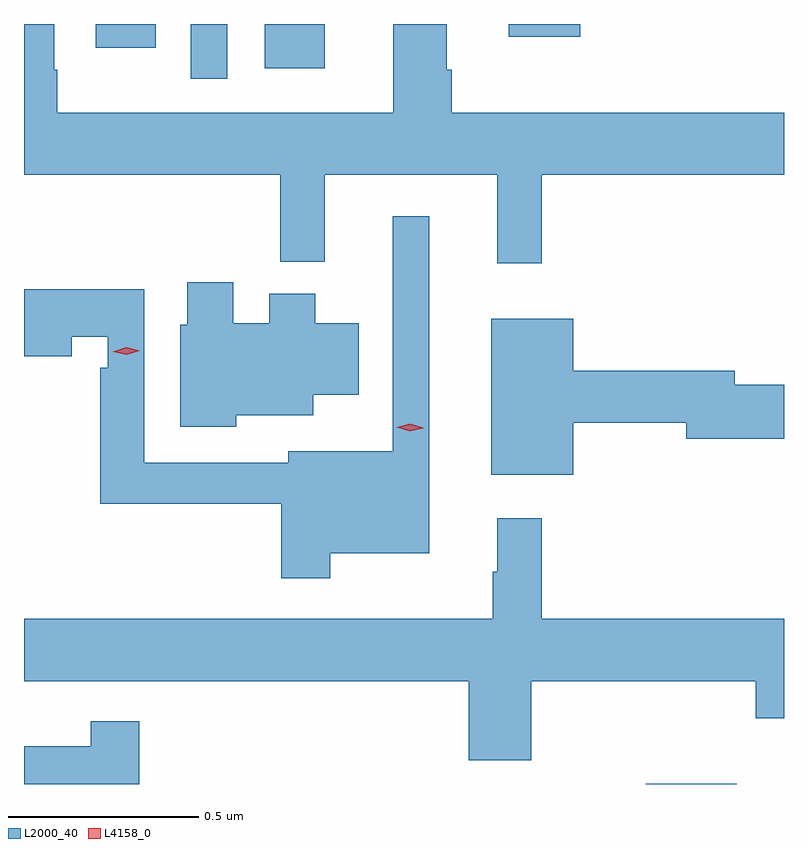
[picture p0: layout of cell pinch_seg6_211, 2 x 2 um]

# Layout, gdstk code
import gdstk
lib = gdstk.Library(unit=1e-6, precision=1e-09)
def R(c, l, rs):  # rectangles x0, y0, x1, y1
    for r in rs: c.add(gdstk.rectangle(r[:2], r[2:], *l))
def P(c, l, *ps):  # polygons
    for p in ps: c.add(gdstk.Polygon(p, *l))
L2000_40 = (2000, 40)
L4158_0 = (4158, 0)

pinch_seg6_211 = lib.new_cell('pinch_seg6_211')
R(pinch_seg6_211, L2000_40, [(1079.655,921.757,1079.894,921.758), (1078.458,923.613,1078.554,923.757), (1078.652,923.64,1078.81,923.757), (1078.208,923.694,1078.366,923.757), (1079.295,923.724,1079.483,923.757)])
P(pinch_seg6_211, L2000_40, [(1079.381,923.36),(1080.019,923.36),(1080.019,923.524),(1079.144,923.524),(1079.144,923.636),(1079.131,923.636),(1079.131,923.757),(1078.991,923.757),(1078.991,923.524),(1078.107,923.524),(1078.107,923.636),(1078.099,923.636),(1078.099,923.757),(1078.019,923.757),(1078.019,923.36),(1078.693,923.36),(1078.693,923.132),(1078.811,923.132),(1078.811,923.36),(1079.264,923.36),(1079.264,923.127),(1079.381,923.127)],
  [(1078.825,922.364),(1079.086,922.364),(1079.086,923.251),(1078.989,923.251),(1078.989,922.633),(1078.715,922.633),(1078.715,922.602),(1078.335,922.602),(1078.335,923.059),(1078.019,923.059),(1078.019,922.883),(1078.144,922.883),(1078.144,922.934),(1078.239,922.934),(1078.239,922.853),(1078.219,922.853),(1078.219,922.494),(1078.696,922.494),(1078.696,922.299),(1078.825,922.299)],
  [(1078.578,922.727),(1078.78,922.727),(1078.78,922.781),(1078.9,922.781),(1078.9,922.969),(1078.786,922.969),(1078.786,923.047),(1078.664,923.047),(1078.664,922.969),(1078.57,922.969),(1078.57,923.077),(1078.448,923.077),(1078.448,922.965),(1078.43,922.965),(1078.43,922.697),(1078.578,922.697)],
  [(1079.464,922.708),(1079.762,922.708),(1079.762,922.666),(1080.019,922.666),(1080.019,922.808),(1079.89,922.808),(1079.89,922.844),(1079.464,922.844),(1079.464,922.981),(1079.249,922.981),(1079.249,922.571),(1079.464,922.571)],
  [(1079.354,922.028),(1079.945,922.028),(1079.945,921.93),(1080.019,921.93),(1080.019,922.192),(1079.381,922.192),(1079.381,922.456),(1079.264,922.456),(1079.264,922.316),(1079.253,922.316),(1079.253,922.192),(1078.019,922.192),(1078.019,922.028),(1079.189,922.028),(1079.189,921.82),(1079.354,921.82)],
  [(1078.322,921.922),(1078.194,921.922),(1078.194,921.856),(1078.019,921.856),(1078.019,921.757),(1078.322,921.757)])
P(pinch_seg6_211, L4158_0, [(1079.034,922.685),(1079,922.696),(1078.999,922.696),(1079,922.696),(1079.035,922.705),(1079.07,922.694),(1079.07,922.693),(1079.07,922.693)],
  [(1078.289,922.886),(1078.253,922.894),(1078.253,922.894),(1078.253,922.895),(1078.288,922.906),(1078.323,922.897),(1078.323,922.897),(1078.323,922.897)])

lib.write_gds('pinch_seg6_211.gds')
